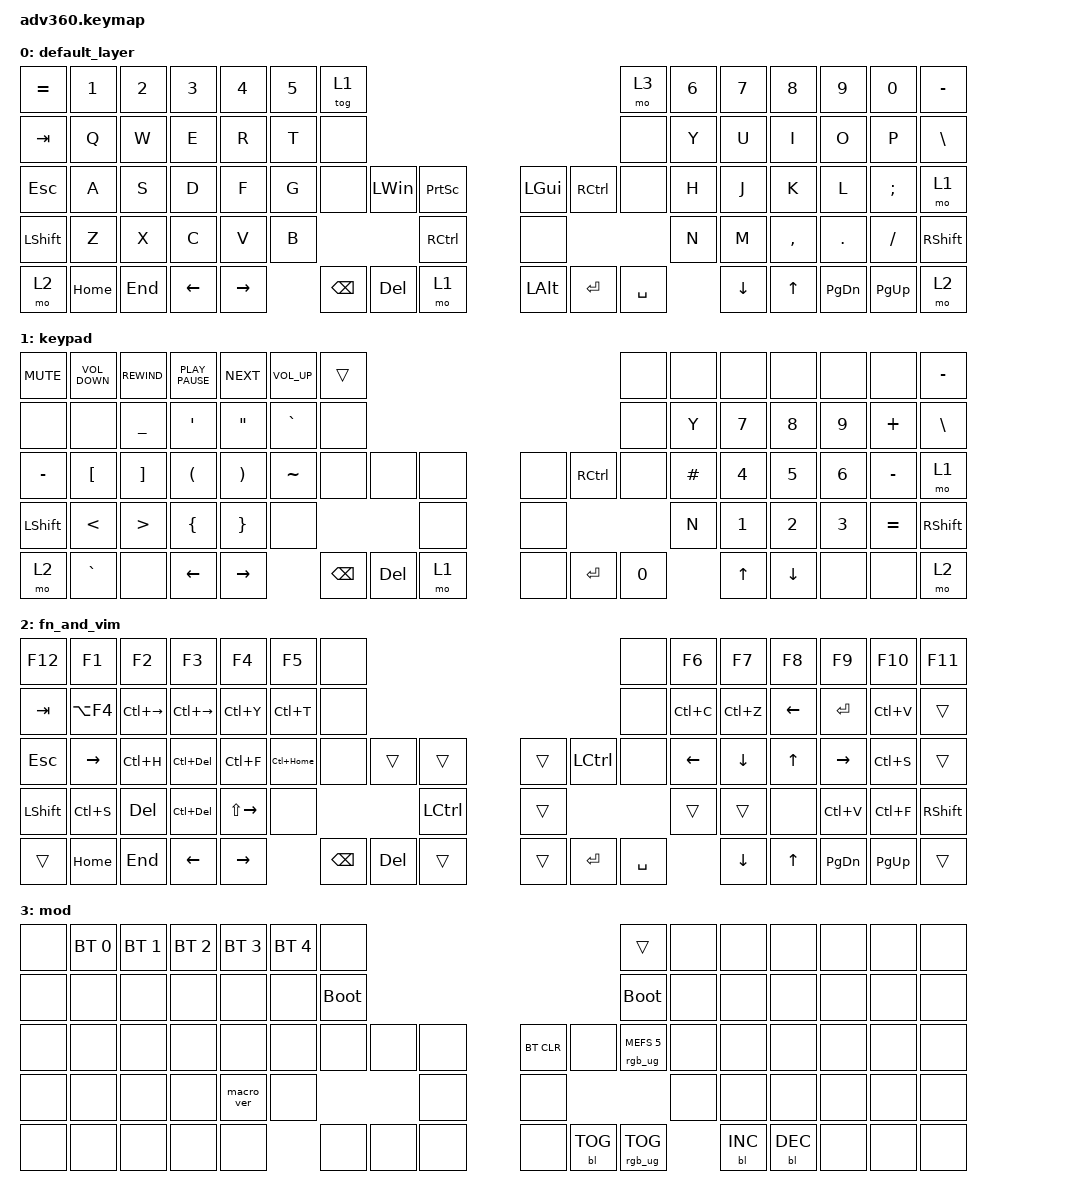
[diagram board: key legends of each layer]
#include <behaviors.dtsi>
#include <dt-bindings/zmk/backlight.h>
#include <dt-bindings/zmk/bt.h>
#include <dt-bindings/zmk/keys.h>
#include <dt-bindings/zmk/rgb.h>

/ {
    behaviors {
        #include "macros.dtsi"
      #include "version.dtsi"
      #ifndef VERSION_MACRO

        macro_ver: macro_ver {
            compatible = "zmk,behavior-macro";
            label = "macro_version";
            #binding-cells = <0>;
            bindings = <&kp RET>;
        };

        #endif

        hm: homerow_mods {
            compatible = "zmk,behavior-hold-tap";
            label = "HOMEROW_MODS";
            #binding-cells = <2>;
            tapping-term-ms = <200>;
            quick_tap_ms = <175>;
            flavor = "tap-preferred";
            bindings = <&kp>, <&kp>;
        };
    };

    macros {
    };

    keymap {
        compatible = "zmk,keymap";

        default_layer {
            bindings = <
&kp EQUAL  &kp N1    &kp N2   &kp N3    &kp N4     &kp N5  &tog 1                                                                  &mo 3      &kp N6  &kp N7          &kp N8        &kp N9         &kp N0       &kp MINUS
&kp TAB    &kp Q     &kp W    &kp E     &kp R      &kp T   &none                                                                   &none      &kp Y   &kp U           &kp I         &kp O          &kp P        &kp BSLH
&kp ESC    &kp A     &kp S    &kp D     &kp F      &kp G   &none     &kp LEFT_WIN  &kp PRINTSCREEN        &kp LGUI      &kp RCTRL  &none      &kp H   &kp J           &kp K         &kp L          &kp SEMI     &mo 1
&kp LSHFT  &kp Z     &kp X    &kp C     &kp V      &kp B                           &kp RIGHT_CONTROL      &none                               &kp N   &kp M           &kp COMMA     &kp DOT        &kp FSLH     &kp RSHFT
&mo 2      &kp HOME  &kp END  &kp LEFT  &kp RIGHT          &kp BSPC  &kp DEL       &mo 1                  &kp LEFT_ALT  &kp ENTER  &kp SPACE          &kp DOWN_ARROW  &kp UP_ARROW  &kp PAGE_DOWN  &kp PAGE_UP  &mo 2
            >;
        };

        keypad {
            bindings = <
&kp K_MUTE  &kp C_VOLUME_DOWN  &kp C_REWIND       &kp K_PLAY_PAUSE      &kp C_NEXT             &kp C_VOLUME_UP  &trans                                          &none         &none     &none         &none         &none         &none      &kp MINUS
&none       &none              &kp UNDERSCORE     &kp SQT               &kp DOUBLE_QUOTES      &kp GRAVE        &none                                           &none         &kp Y     &kp NUMBER_7  &kp NUMBER_8  &kp NUMBER_9  &kp PLUS   &kp BSLH
&kp MINUS   &kp LEFT_BRACKET   &kp RIGHT_BRACKET  &kp LEFT_PARENTHESIS  &kp RIGHT_PARENTHESIS  &kp TILDE        &none     &none    &none      &none  &kp RCTRL  &none         &kp HASH  &kp NUMBER_4  &kp NUMBER_5  &kp NUMBER_6  &kp MINUS  &mo 1
&kp LSHFT   &kp LESS_THAN      &kp GREATER_THAN   &kp LEFT_BRACE        &kp RIGHT_BRACE        &none                               &none      &none                           &kp N     &kp NUMBER_1  &kp NUMBER_2  &kp NUMBER_3  &kp EQUAL  &kp RSHFT
&mo 2       &kp GRAVE          &none              &kp LEFT              &kp RIGHT                               &kp BSPC  &kp DEL  &mo 1      &none  &kp ENTER  &kp NUMBER_0            &kp UP        &kp DOWN      &none         &none      &mo 2
            >;
        };

        fn_and_vim {
            bindings = <
&kp F12         &kp F1           &kp F2               &kp F3               &kp F4               &kp F5        &none                                                                   &none      &kp F6          &kp F7          &kp F8        &kp F9         &kp F10      &kp F11
&kp TAB         &kp LA(F4)       &kp LC(RIGHT_ARROW)  &kp LC(RIGHT_ARROW)  &kp LC(Y)            &kp LC(T)     &none                                                                   &none      &kp LC(C)       &kp LC(Z)       &kp LEFT      &kp ENTER      &kp LC(V)    &trans
&kp ESCAPE      &kp RIGHT_ARROW  &kp LC(H)            &kp LC(DELETE)       &kp LC(F)            &kp LC(HOME)  &none          &trans   &trans                &trans  &kp LEFT_CONTROL  &none      &kp LEFT_ARROW  &kp DOWN_ARROW  &kp UP_ARROW  &kp RIGHT      &kp LC(S)    &trans
&kp LEFT_SHIFT  &kp LC(S)        &kp DELETE           &kp LC(DEL)          &kp LS(RIGHT_ARROW)  &none                                 &kp LEFT_CONTROL      &trans                               &trans          &trans          &none         &kp LC(V)      &kp LC(F)    &kp RIGHT_SHIFT
&trans          &kp HOME         &kp END              &kp LEFT_ARROW       &kp RIGHT_ARROW                    &kp BACKSPACE  &kp DEL  &trans                &trans  &kp ENTER         &kp SPACE                  &kp DOWN        &kp UP_ARROW  &kp PAGE_DOWN  &kp PAGE_UP  &trans
            >;
        };

        mod {
            bindings = <
&none  &bt BT_SEL 0  &bt BT_SEL 1  &bt BT_SEL 2  &bt BT_SEL 3  &bt BT_SEL 4  &none                                                  &trans                  &none  &none       &none       &none  &none  &none
&none  &none         &none         &none         &none         &none         &bootloader                                            &bootloader             &none  &none       &none       &none  &none  &none
&none  &none         &none         &none         &none         &none         &none        &none  &none      &bt BT_CLR  &none       &rgb_ug RGB_MEFS_CMD 5  &none  &none       &none       &none  &none  &none
&none  &none         &none         &none         &macro_ver    &none                             &none      &none                                           &none  &none       &none       &none  &none  &none
&none  &none         &none         &none         &none                       &none        &none  &none      &none       &bl BL_TOG  &rgb_ug RGB_TOG                &bl BL_INC  &bl BL_DEC  &none  &none  &none
            >;
        };
    };
};
